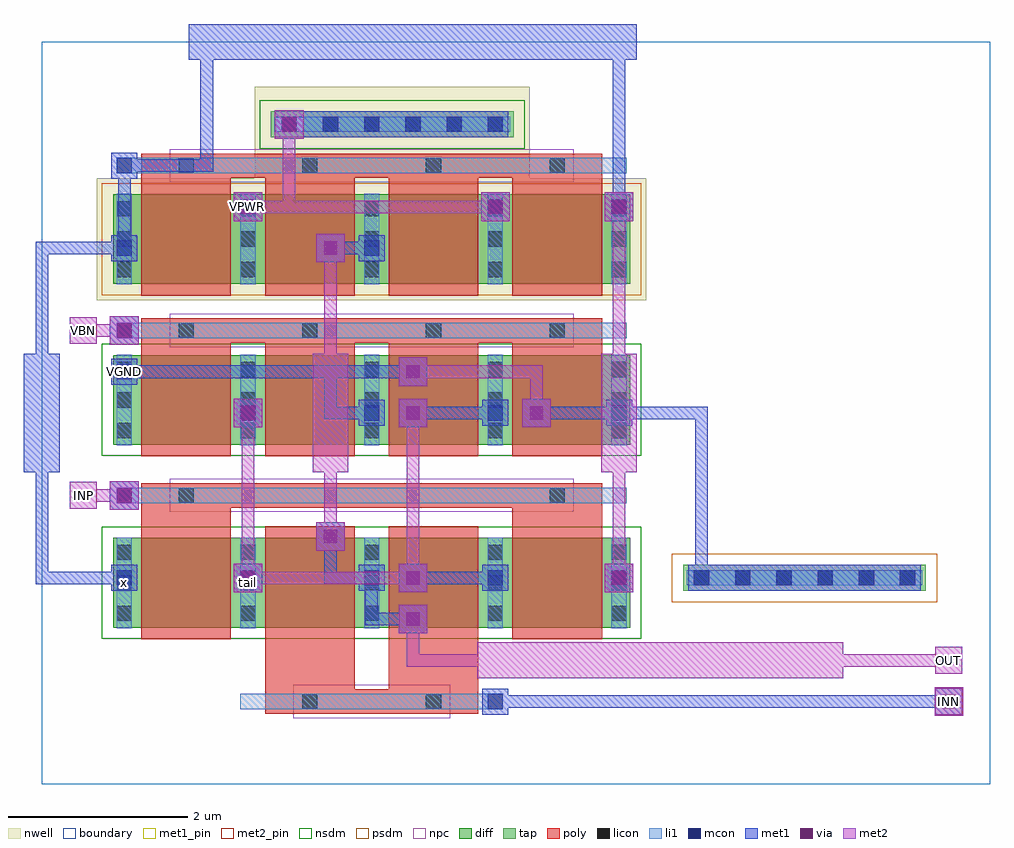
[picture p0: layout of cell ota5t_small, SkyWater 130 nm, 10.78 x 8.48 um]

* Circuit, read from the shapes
.subckt ota5t_small INN INP OUT VBN VGND VPWR tail x
XM1 tail INP x VGND sky130_fd_pr__nfet_01v8 w=1 l=1 m=2
XM2 tail VBN VGND VGND sky130_fd_pr__nfet_01v8 w=1 l=1 m=4
XM3 OUT INN tail VGND sky130_fd_pr__nfet_01v8 w=1 l=1 m=2
XM4 VPWR x x VPWR sky130_fd_pr__pfet_01v8 w=1 l=1 m=2
XM5 OUT x VPWR VPWR sky130_fd_pr__pfet_01v8 w=1 l=1 m=2
.ends

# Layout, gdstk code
import gdstk
lib = gdstk.Library(unit=1e-6, precision=1e-09)
def R(c, l, rs):  # rectangles x0, y0, x1, y1
    for r in rs: c.add(gdstk.rectangle(r[:2], r[2:], *l))
def A(c, l, x, y, w, h, nx, ny, dx, dy):  # array of equal rectangles
    R(c, l, [(x+i*dx, y+j*dy, x+i*dx+w, y+j*dy+h) for i in range(nx) for j in range(ny)])
nwell = (64, 20)
diff = (65, 20)
tap = (65, 44)
poly = (66, 20)
licon = (66, 44)
li1 = (67, 20)
mcon = (67, 44)
met1_pin = (68, 16)
met1 = (68, 20)
via = (68, 44)
met2_pin = (69, 16)
met2 = (69, 20)
nsdm = (93, 44)
psdm = (94, 20)
npc = (95, 20)
boundary = (235, 4)

ota5t_small = lib.new_cell('ota5t_small')
R(ota5t_small, nwell, [(0.615,5.4,6.745,6.76), (2.375,6.76,5.445,7.78)])
R(ota5t_small, diff, [(0.795,1.745,6.565,2.745), (0.795,3.785,6.565,4.785), (0.795,5.58,6.565,6.58)])
R(ota5t_small, tap, [(7.155,2.155,9.865,2.445), (2.555,7.215,5.265,7.505)])
A(ota5t_small, poly, 1.11, 3.085, 5.14, 0.27, 1, 3, 0, 1.84)
A(ota5t_small, poly, 1.11, 3.655, 1, 1.405, 4, 1, 1.38, 0)
A(ota5t_small, poly, 1.11, 5.45, 1, 1.45, 4, 1, 1.38, 0)
R(ota5t_small, poly, [(2.49,0.785,4.87,1.055), (2.49,0.92,3.49,2.875), (3.87,0.92,4.87,2.875), (1.11,1.615,2.11,3.22), (5.25,1.615,6.25,3.22)])
A(ota5t_small, licon, 0.835, 1.82, 0.17, 0.17, 5, 3, 1.38, 0.34)
A(ota5t_small, licon, 7.275, 2.215, 0.17, 0.17, 6, 1, 0.46, 0)
A(ota5t_small, licon, 0.835, 3.86, 0.17, 0.17, 5, 3, 1.38, 0.34)
A(ota5t_small, licon, 1.525, 4.975, 0.17, 0.17, 4, 2, 1.38, 1.84)
A(ota5t_small, licon, 0.835, 5.655, 0.17, 0.17, 5, 3, 1.38, 0.34)
A(ota5t_small, licon, 2.675, 7.275, 0.17, 0.17, 6, 1, 0.46, 0)
R(ota5t_small, licon, [(2.905,0.835,3.075,1.005), (4.285,0.835,4.455,1.005), (1.525,3.135,1.695,3.305), (5.665,3.135,5.835,3.305)])
A(ota5t_small, li1, 0.835, 1.74, 0.17, 1.01, 5, 2, 1.38, 2.04)
A(ota5t_small, li1, 0.835, 3.135, 5.69, 0.17, 1, 3, 0, 1.84)
A(ota5t_small, li1, 0.835, 5.575, 0.17, 1.01, 5, 1, 1.38, 0)
R(ota5t_small, li1, [(2.215,0.835,5.145,1.005), (7.195,2.215,9.825,2.385), (2.595,7.275,5.225,7.445)])
A(ota5t_small, mcon, 0.835, 2.215, 0.17, 0.17, 5, 1, 1.38, 0)
A(ota5t_small, mcon, 7.275, 2.215, 0.17, 0.17, 6, 1, 0.46, 0)
A(ota5t_small, mcon, 2.215, 4.055, 0.17, 0.17, 4, 1, 1.38, 0)
A(ota5t_small, mcon, 0.835, 4.975, 0.17, 0.17, 1, 3, 0, 0.92)
A(ota5t_small, mcon, 2.675, 7.275, 0.17, 0.17, 6, 1, 0.46, 0)
R(ota5t_small, mcon, [(4.975,0.835,5.145,1.005), (0.835,3.135,1.005,3.305), (0.835,4.515,1.005,4.685), (3.595,5.895,3.765,6.065), (2.215,6.355,2.385,6.525), (4.975,6.355,5.145,6.525), (6.355,6.355,6.525,6.525)])
R(ota5t_small, met1_pin, [(0.775,4.455,1.065,4.745), (2.155,6.295,2.445,6.585)])
A(ota5t_small, met1, 0.775, 2.155, 0.29, 0.29, 5, 1, 1.38, 0)
A(ota5t_small, met1, 3.15, 2.23, 0.6, 0.14, 1, 3, 0, 1.84)
A(ota5t_small, met1, 2.155, 3.995, 0.29, 0.29, 4, 1, 1.38, 0)
A(ota5t_small, met1, 0.775, 4.915, 0.29, 0.29, 1, 3, 0, 0.92)
R(ota5t_small, met1, [(9.96,0.76,10.28,1.08), (4.915,0.775,5.205,1.065), (4.99,0.85,10.19,0.99), (3.98,1.68,4.3,2), (3.61,1.77,4.21,1.91), (3.61,1.77,3.75,2.37), (2.14,2.14,2.46,2.46), (3.98,2.14,4.3,2.46), (6.28,2.14,6.6,2.46), (7.215,2.155,9.805,2.445), (-0.07,2.23,0.99,2.37), (-0.07,2.23,0.07,3.75), (3.15,2.23,3.29,2.83), (4.07,2.23,5.13,2.37), (7.29,2.23,7.43,4.21), (7.29,2.23,7.43,2.37), (3.06,2.6,3.38,2.92), (0.76,3.06,1.08,3.38), (0.775,3.075,1.065,3.365), (-0.2,3.48,0.2,4.8), (2.14,3.98,2.46,4.3), (3.98,3.98,4.3,4.3), (5.36,3.98,5.68,4.3), (3.15,4.07,3.29,4.67), (4.07,4.07,5.13,4.21), (5.45,4.07,6.51,4.21), (6.37,4.07,7.43,4.21), (3.98,4.44,4.3,4.76), (0.775,4.455,1.065,4.745), (-0.07,4.53,0.07,6.05), (0.85,4.53,3.29,4.67), (3.15,4.53,4.21,4.67), (0.76,4.9,1.08,5.22), (3.06,5.82,3.38,6.14), (3.535,5.835,3.825,6.125), (-0.07,5.91,0.99,6.05), (0.85,5.91,0.99,6.97), (2.14,6.28,2.46,6.6), (4.9,6.28,5.22,6.6), (6.28,6.28,6.6,6.6), (2.155,6.295,2.445,6.585), (4.915,6.295,5.205,6.585), (6.295,6.295,6.585,6.585), (6.37,6.37,6.51,8.35), (0.85,6.83,1.91,6.97), (1.77,6.83,1.91,8.35), (2.6,7.2,2.92,7.52), (2.615,7.215,5.205,7.505), (2.69,7.29,2.83,7.43), (1.64,8.08,6.64,8.48)])
R(ota5t_small, via, [(10.045,0.845,10.195,0.995), (4.065,1.765,4.215,1.915), (2.225,2.225,2.375,2.375), (4.065,2.225,4.215,2.375), (6.365,2.225,6.515,2.375), (3.145,2.685,3.295,2.835), (0.845,3.145,0.995,3.295), (2.225,4.065,2.375,4.215), (4.065,4.065,4.215,4.215), (5.445,4.065,5.595,4.215), (4.065,4.525,4.215,4.675), (0.845,4.985,0.995,5.135), (3.145,5.905,3.295,6.055), (2.225,6.365,2.375,6.515), (4.985,6.365,5.135,6.515), (6.365,6.365,6.515,6.515), (2.685,7.285,2.835,7.435)])
R(ota5t_small, met2_pin, [(9.97,0.77,10.27,1.07), (9.97,1.23,10.27,1.53), (0.31,3.07,0.61,3.37), (0.31,4.91,0.61,5.21)])
R(ota5t_small, met2, [(9.96,0.76,10.28,1.08), (9.97,0.77,10.27,1.07), (10.05,0.85,10.19,0.99), (4.86,1.18,8.94,1.58), (9.97,1.23,10.27,1.53), (4.07,1.31,4.21,1.91), (4.07,1.31,5.13,1.45), (8.67,1.31,10.19,1.45), (10.05,1.31,10.19,1.45), (3.98,1.68,4.3,2), (2.14,2.14,2.46,2.46), (3.98,2.14,4.3,2.46), (6.28,2.14,6.6,2.46), (2.23,2.23,2.37,4.21), (2.23,2.23,4.21,2.37), (4.07,2.23,4.21,4.21), (6.37,2.23,6.51,3.75), (3.06,2.6,3.38,2.92), (3.15,2.69,3.29,3.75), (0.76,3.06,1.08,3.38), (0.31,3.07,0.61,3.37), (0.39,3.15,0.53,3.29), (0.39,3.15,0.99,3.29), (3.02,3.48,3.42,4.8), (6.24,3.48,6.64,4.8), (2.14,3.98,2.46,4.3), (3.98,3.98,4.3,4.3), (5.36,3.98,5.68,4.3), (5.45,4.07,5.59,4.67), (3.98,4.44,4.3,4.76), (3.15,4.53,3.29,6.05), (4.07,4.53,5.59,4.67), (6.37,4.53,6.51,6.51), (0.76,4.9,1.08,5.22), (0.31,4.91,0.61,5.21), (0.39,4.99,0.53,5.13), (0.39,4.99,0.99,5.13), (3.06,5.82,3.38,6.14), (2.14,6.28,2.46,6.6), (4.9,6.28,5.22,6.6), (6.28,6.28,6.6,6.6), (2.23,6.37,2.83,6.51), (2.69,6.37,2.83,7.43), (2.69,6.37,5.13,6.51), (2.6,7.2,2.92,7.52)])
R(ota5t_small, nsdm, [(0.67,1.62,6.69,2.87), (0.67,3.66,6.69,4.91), (2.43,7.09,5.39,7.63)])
R(ota5t_small, psdm, [(7.03,2.03,9.99,2.57), (0.67,5.455,6.69,6.705)])
A(ota5t_small, npc, 1.425, 3.035, 4.51, 0.37, 1, 3, 0, 1.84)
R(ota5t_small, npc, [(2.805,0.735,4.555,1.105)])
R(ota5t_small, boundary, [(0,0,10.58,8.28)])
ota5t_small.add(gdstk.Label('x', (0.92,2.245), layer=67, texttype=5))
ota5t_small.add(gdstk.Label('tail', (2.3,2.245), layer=67, texttype=5))
ota5t_small.add(gdstk.Label('VPWR', (2.3,6.44), layer=68, texttype=5))
ota5t_small.add(gdstk.Label('VGND', (0.92,4.6), layer=68, texttype=5))
ota5t_small.add(gdstk.Label('INP', (0.46,3.22), layer=69, texttype=5))
ota5t_small.add(gdstk.Label('INN', (10.12,0.92), layer=69, texttype=5))
ota5t_small.add(gdstk.Label('VBN', (0.46,5.06), layer=69, texttype=5))
ota5t_small.add(gdstk.Label('OUT', (10.12,1.38), layer=69, texttype=5))
ota5t_small.add(gdstk.Label('VPWR', (2.3,6.44), layer=68, texttype=16))
ota5t_small.add(gdstk.Label('VGND', (0.92,4.6), layer=68, texttype=16))
ota5t_small.add(gdstk.Label('INP', (0.46,3.22), layer=69, texttype=16))
ota5t_small.add(gdstk.Label('INN', (10.12,0.92), layer=69, texttype=16))
ota5t_small.add(gdstk.Label('VBN', (0.46,5.06), layer=69, texttype=16))
ota5t_small.add(gdstk.Label('OUT', (10.12,1.38), layer=69, texttype=16))

lib.write_gds('ota5t_small.gds')
